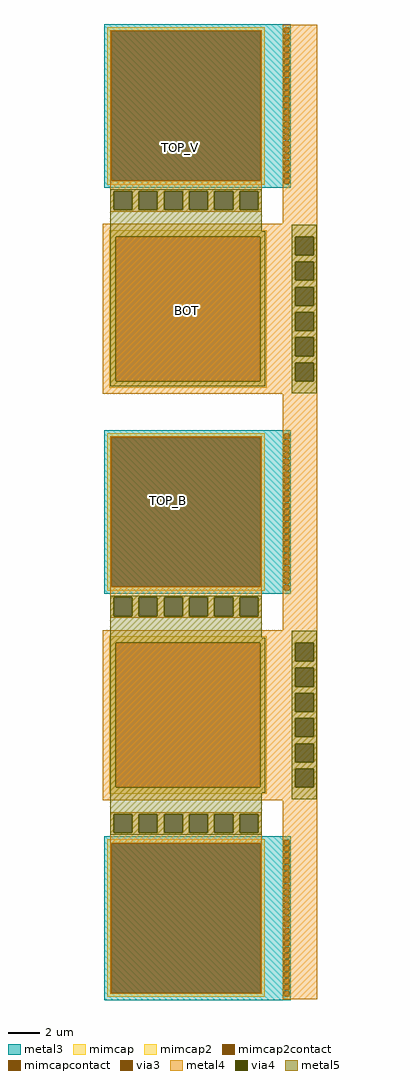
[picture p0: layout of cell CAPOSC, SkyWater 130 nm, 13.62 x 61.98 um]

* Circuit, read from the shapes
.subckt CAPOSC BOT TOP_B TOP_V
XC1 TOP_B BOT sky130_fd_pr__cap_mim_m3_1 w=10 l=10 m=2
XC2 TOP_V BOT sky130_fd_pr__cap_mim_m3_1 w=10 l=10
XC3 TOP_B BOT sky130_fd_pr__cap_mim_m3_2 w=10 l=10
XC4 TOP_V BOT sky130_fd_pr__cap_mim_m3_2 w=10 l=10
.ends

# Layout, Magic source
magic
tech sky130A
magscale 1 2
<< metal4 >>
rect 2696 -8974 3131 3398
use mim_cap$1  mim_cap$1_0
transform 1 0 464 0 1 1370
box -40 -40 2332 2040
use mim_cap$1  mim_cap$1_1
transform 1 0 464 0 1 -8946
box -40 -40 2332 2040
use mim_cap$1  mim_cap$1_2
transform 1 0 464 0 1 -3788
box -40 -40 2332 2040
use mim_cap  mim_cap_0
transform 1 0 487 0 1 -1209
box -80 -80 2644 2080
use mim_cap  mim_cap_1
transform 1 0 487 0 1 -6367
box -80 -80 2644 2080
use top_connector  top_connector_0
transform 1 0 0 0 1 244
box 503 531 2425 1165
use top_connector  top_connector_1
transform -1 0 2928 0 -1 -5820
box 503 531 2425 1165
use top_connector  top_connector_2
transform 1 0 0 0 1 -4914
box 503 531 2425 1165
<< labels >>
flabel metal4 s 1465 -232 1465 -232 2 FreeSans 480 0 0 0 BOT
flabel metal4 s 1399 1847 1399 1847 2 FreeSans 480 0 0 0 TOP_V
flabel metal4 s 1237 -2639 1237 -2639 2 FreeSans 480 0 0 0 TOP_B
<< end >>

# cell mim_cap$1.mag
magic
tech sky130A
magscale 1 2
<< metal3 >>
rect -40 1992 2332 2040
rect -40 1928 2248 1992
rect 2312 1928 2332 1992
rect -40 1912 2332 1928
rect -40 1848 2248 1912
rect 2312 1848 2332 1912
rect -40 1832 2332 1848
rect -40 1768 2248 1832
rect 2312 1768 2332 1832
rect -40 1752 2332 1768
rect -40 1688 2248 1752
rect 2312 1688 2332 1752
rect -40 1672 2332 1688
rect -40 1608 2248 1672
rect 2312 1608 2332 1672
rect -40 1592 2332 1608
rect -40 1528 2248 1592
rect 2312 1528 2332 1592
rect -40 1512 2332 1528
rect -40 1448 2248 1512
rect 2312 1448 2332 1512
rect -40 1432 2332 1448
rect -40 1368 2248 1432
rect 2312 1368 2332 1432
rect -40 1352 2332 1368
rect -40 1288 2248 1352
rect 2312 1288 2332 1352
rect -40 1272 2332 1288
rect -40 1208 2248 1272
rect 2312 1208 2332 1272
rect -40 1192 2332 1208
rect -40 1128 2248 1192
rect 2312 1128 2332 1192
rect -40 1112 2332 1128
rect -40 1048 2248 1112
rect 2312 1048 2332 1112
rect -40 1032 2332 1048
rect -40 968 2248 1032
rect 2312 968 2332 1032
rect -40 952 2332 968
rect -40 888 2248 952
rect 2312 888 2332 952
rect -40 872 2332 888
rect -40 808 2248 872
rect 2312 808 2332 872
rect -40 792 2332 808
rect -40 728 2248 792
rect 2312 728 2332 792
rect -40 712 2332 728
rect -40 648 2248 712
rect 2312 648 2332 712
rect -40 632 2332 648
rect -40 568 2248 632
rect 2312 568 2332 632
rect -40 552 2332 568
rect -40 488 2248 552
rect 2312 488 2332 552
rect -40 472 2332 488
rect -40 408 2248 472
rect 2312 408 2332 472
rect -40 392 2332 408
rect -40 328 2248 392
rect 2312 328 2332 392
rect -40 312 2332 328
rect -40 248 2248 312
rect 2312 248 2332 312
rect -40 232 2332 248
rect -40 168 2248 232
rect 2312 168 2332 232
rect -40 152 2332 168
rect -40 88 2248 152
rect 2312 88 2332 152
rect -40 72 2332 88
rect -40 8 2248 72
rect 2312 8 2332 72
rect -40 -40 2332 8
<< via3 >>
rect 2248 1928 2312 1992
rect 2248 1848 2312 1912
rect 2248 1768 2312 1832
rect 2248 1688 2312 1752
rect 2248 1608 2312 1672
rect 2248 1528 2312 1592
rect 2248 1448 2312 1512
rect 2248 1368 2312 1432
rect 2248 1288 2312 1352
rect 2248 1208 2312 1272
rect 2248 1128 2312 1192
rect 2248 1048 2312 1112
rect 2248 968 2312 1032
rect 2248 888 2312 952
rect 2248 808 2312 872
rect 2248 728 2312 792
rect 2248 648 2312 712
rect 2248 568 2312 632
rect 2248 488 2312 552
rect 2248 408 2312 472
rect 2248 328 2312 392
rect 2248 248 2312 312
rect 2248 168 2312 232
rect 2248 88 2312 152
rect 2248 8 2312 72
<< mimcap >>
rect 0 1952 2000 2000
rect 0 48 48 1952
rect 1952 48 2000 1952
rect 0 0 2000 48
<< mimcapcontact >>
rect 48 48 1952 1952
<< metal4 >>
rect 2232 1992 2328 2028
rect 39 1952 1961 1961
rect 39 48 48 1952
rect 1952 48 1961 1952
rect 39 39 1961 48
rect 2232 1928 2248 1992
rect 2312 1928 2328 1992
rect 2232 1912 2328 1928
rect 2232 1848 2248 1912
rect 2312 1848 2328 1912
rect 2232 1832 2328 1848
rect 2232 1768 2248 1832
rect 2312 1768 2328 1832
rect 2232 1752 2328 1768
rect 2232 1688 2248 1752
rect 2312 1688 2328 1752
rect 2232 1672 2328 1688
rect 2232 1608 2248 1672
rect 2312 1608 2328 1672
rect 2232 1592 2328 1608
rect 2232 1528 2248 1592
rect 2312 1528 2328 1592
rect 2232 1512 2328 1528
rect 2232 1448 2248 1512
rect 2312 1448 2328 1512
rect 2232 1432 2328 1448
rect 2232 1368 2248 1432
rect 2312 1368 2328 1432
rect 2232 1352 2328 1368
rect 2232 1288 2248 1352
rect 2312 1288 2328 1352
rect 2232 1272 2328 1288
rect 2232 1208 2248 1272
rect 2312 1208 2328 1272
rect 2232 1192 2328 1208
rect 2232 1128 2248 1192
rect 2312 1128 2328 1192
rect 2232 1112 2328 1128
rect 2232 1048 2248 1112
rect 2312 1048 2328 1112
rect 2232 1032 2328 1048
rect 2232 968 2248 1032
rect 2312 968 2328 1032
rect 2232 952 2328 968
rect 2232 888 2248 952
rect 2312 888 2328 952
rect 2232 872 2328 888
rect 2232 808 2248 872
rect 2312 808 2328 872
rect 2232 792 2328 808
rect 2232 728 2248 792
rect 2312 728 2328 792
rect 2232 712 2328 728
rect 2232 648 2248 712
rect 2312 648 2328 712
rect 2232 632 2328 648
rect 2232 568 2248 632
rect 2312 568 2328 632
rect 2232 552 2328 568
rect 2232 488 2248 552
rect 2312 488 2328 552
rect 2232 472 2328 488
rect 2232 408 2248 472
rect 2312 408 2328 472
rect 2232 392 2328 408
rect 2232 328 2248 392
rect 2312 328 2328 392
rect 2232 312 2328 328
rect 2232 248 2248 312
rect 2312 248 2328 312
rect 2232 232 2328 248
rect 2232 168 2248 232
rect 2312 168 2328 232
rect 2232 152 2328 168
rect 2232 88 2248 152
rect 2312 88 2328 152
rect 2232 72 2328 88
rect 2232 8 2248 72
rect 2312 8 2328 72
rect 2232 -28 2328 8
<< end >>

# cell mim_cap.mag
magic
tech sky130A
<< metal4 >>
rect -40 959 1322 1040
rect -40 841 1181 959
rect 1299 841 1322 959
rect -40 799 1322 841
rect -40 681 1181 799
rect 1299 681 1322 799
rect -40 639 1322 681
rect -40 521 1181 639
rect 1299 521 1322 639
rect -40 479 1322 521
rect -40 361 1181 479
rect 1299 361 1322 479
rect -40 319 1322 361
rect -40 201 1181 319
rect 1299 201 1322 319
rect -40 159 1322 201
rect -40 41 1181 159
rect 1299 41 1322 159
rect -40 -40 1322 41
<< via4 >>
rect 1181 841 1299 959
rect 1181 681 1299 799
rect 1181 521 1299 639
rect 1181 361 1299 479
rect 1181 201 1299 319
rect 1181 41 1299 159
<< mimcap2 >>
rect 0 959 1000 1000
rect 0 41 41 959
rect 959 41 1000 959
rect 0 0 1000 41
<< mimcap2contact >>
rect 41 41 959 959
<< metal5 >>
rect 8 959 992 992
rect 8 41 41 959
rect 959 41 992 959
rect 8 8 992 41
rect 1160 959 1320 1034
rect 1160 841 1181 959
rect 1299 841 1320 959
rect 1160 799 1320 841
rect 1160 681 1181 799
rect 1299 681 1320 799
rect 1160 639 1320 681
rect 1160 521 1181 639
rect 1299 521 1320 639
rect 1160 479 1320 521
rect 1160 361 1181 479
rect 1299 361 1320 479
rect 1160 319 1320 361
rect 1160 201 1181 319
rect 1299 201 1320 319
rect 1160 159 1320 201
rect 1160 41 1181 159
rect 1299 41 1320 159
rect 1160 -34 1320 41
<< end >>

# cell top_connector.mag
magic
tech sky130A
magscale 1 2
<< metal4 >>
rect 503 1065 2425 1165
<< metal5 >>
rect 503 531 2425 781
use vias_gen$1  vias_gen$1_0
transform 1 0 503 0 1 781
box 0 0 1922 320
<< end >>

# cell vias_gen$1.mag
magic
tech sky130A
magscale 1 2
<< metal4 >>
rect 0 260 1922 284
rect 0 24 43 260
rect 279 24 363 260
rect 599 24 683 260
rect 919 24 1003 260
rect 1239 24 1323 260
rect 1559 24 1643 260
rect 1879 24 1922 260
rect 0 0 1922 24
<< via4 >>
rect 43 24 279 260
rect 363 24 599 260
rect 683 24 919 260
rect 1003 24 1239 260
rect 1323 24 1559 260
rect 1643 24 1879 260
<< metal5 >>
rect 0 260 1922 284
rect 0 24 43 260
rect 279 24 363 260
rect 599 24 683 260
rect 919 24 1003 260
rect 1239 24 1323 260
rect 1559 24 1643 260
rect 1879 24 1922 260
rect 0 0 1922 24
<< end >>
